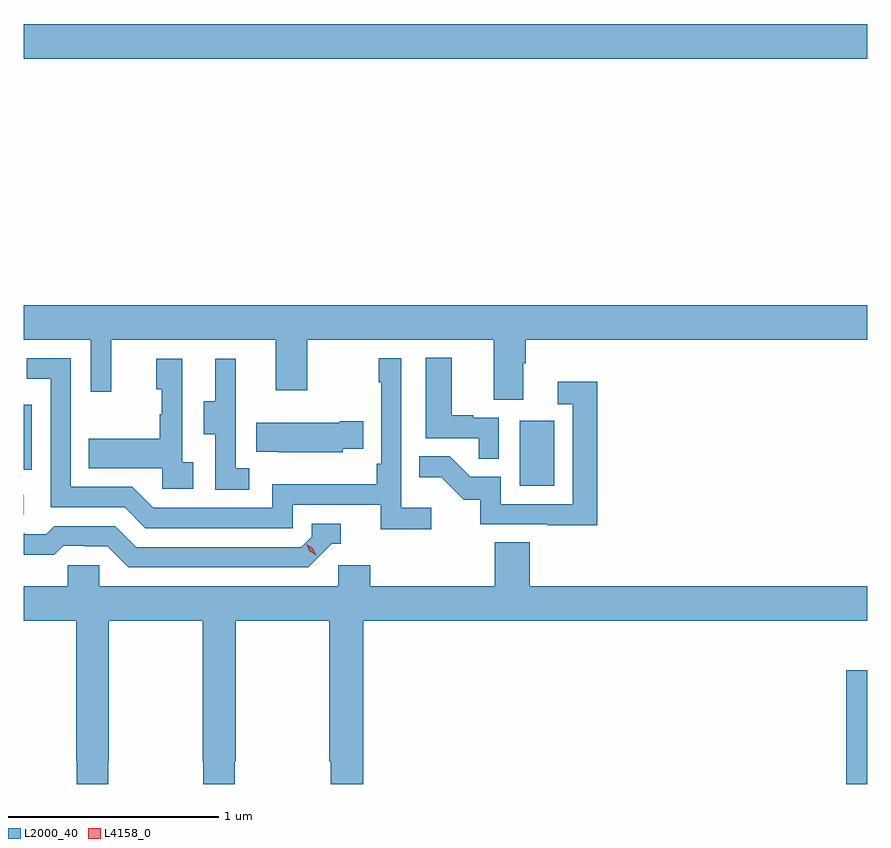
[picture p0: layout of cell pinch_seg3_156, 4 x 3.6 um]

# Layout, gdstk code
import gdstk
lib = gdstk.Library(unit=1e-6, precision=1e-09)
def R(c, l, rs):  # rectangles x0, y0, x1, y1
    for r in rs: c.add(gdstk.rectangle(r[:2], r[2:], *l))
def P(c, l, *ps):  # polygons
    for p in ps: c.add(gdstk.Polygon(p, *l))
L2000_40 = (2000, 40)
L4158_0 = (4158, 0)

pinch_seg3_156 = lib.new_cell('pinch_seg3_156')
R(pinch_seg3_156, L2000_40, [(1097.312,716.126,1097.413,716.665), (1093.413,717.402,1093.414,717.498), (1095.764,717.54,1095.928,717.847), (1093.413,717.615,1093.452,717.924), (1093.413,719.564,1097.413,719.728)])
P(pinch_seg3_156, L2000_40, [(1095.781,718.12),(1095.794,718.12),(1095.794,718.232),(1097.413,718.232),(1097.413,718.396),(1093.413,718.396),(1093.413,718.232),(1093.731,718.232),(1093.731,717.984),(1093.829,717.984),(1093.829,718.232),(1094.609,718.232),(1094.609,717.993),(1094.757,717.993),(1094.757,718.232),(1095.641,718.232),(1095.641,717.946),(1095.781,717.946)],
  [(1095.666,717.861),(1095.545,717.861),(1095.545,717.874),(1095.442,717.874),(1095.442,718.147),(1095.32,718.147),(1095.32,717.765),(1095.571,717.765),(1095.571,717.667),(1095.666,717.667)],
  [(1095.346,717.436),(1095.204,717.436),(1095.204,718.144),(1095.096,718.144),(1095.096,718.031),(1095.108,718.031),(1095.108,717.643),(1095.088,717.643),(1095.088,717.547),(1094.592,717.547),(1094.592,717.435),(1094.028,717.435),(1093.929,717.534),(1093.638,717.534),(1093.638,718.143),(1093.429,718.143),(1093.429,718.047),(1093.542,718.047),(1093.542,717.438),(1093.892,717.438),(1093.991,717.339),(1094.688,717.339),(1094.688,717.45),(1095.107,717.45),(1095.107,717.334),(1095.346,717.334)],
  [(1094.218,717.65),(1094.166,717.65),(1094.166,718.141),(1094.042,718.141),(1094.042,717.996),(1094.068,717.996),(1094.068,717.878),(1094.058,717.878),(1094.058,717.763),(1093.723,717.763),(1093.723,717.623),(1094.07,717.623),(1094.07,717.525),(1094.218,717.525)],
  [(1094.482,717.623),(1094.418,717.623),(1094.418,717.927),(1094.42,717.927),(1094.42,718.141),(1094.321,718.141),(1094.321,717.939),(1094.267,717.939),(1094.267,717.784),(1094.322,717.784),(1094.322,717.52),(1094.482,717.52)],
  [(1096.133,718.033),(1095.945,718.033),(1095.945,717.927),(1096.017,717.927),(1096.017,717.453),(1095.675,717.453),(1095.675,717.582),(1095.53,717.582),(1095.432,717.68),(1095.289,717.68),(1095.289,717.581),(1095.393,717.581),(1095.5,717.474),(1095.577,717.474),(1095.577,717.357),(1095.895,717.357),(1095.895,717.352),(1096.133,717.352)],
  [(1094.925,717.716),(1095.023,717.716),(1095.023,717.846),(1094.912,717.846),(1094.912,717.838),(1094.515,717.838),(1094.515,717.701),(1094.623,717.701),(1094.623,717.698),(1094.925,717.698)],
  [(1094.874,717.264),(1094.917,717.264),(1094.917,717.36),(1094.778,717.36),(1094.778,717.297),(1094.73,717.249),(1093.947,717.249),(1093.848,717.348),(1093.559,717.348),(1093.52,717.309),(1093.421,717.309),(1093.421,717.312),(1093.413,717.312),(1093.413,717.213),(1093.559,717.213),(1093.601,717.255),(1093.704,717.255),(1093.704,717.252),(1093.811,717.252),(1093.91,717.153),(1094.763,717.153)],
  [(1093.773,717.162),(1093.623,717.162),(1093.623,717.064),(1093.413,717.064),(1093.413,716.9),(1093.663,716.9),(1093.663,716.233),(1093.665,716.233),(1093.665,716.126),(1093.815,716.126),(1093.815,716.233),(1093.818,716.233),(1093.818,716.9),(1094.263,716.9),(1094.263,716.233),(1094.265,716.233),(1094.265,716.126),(1094.415,716.126),(1094.415,716.233),(1094.418,716.233),(1094.418,716.9),(1094.863,716.9),(1094.863,716.233),(1094.869,716.233),(1094.869,716.126),(1095.023,716.126),(1095.023,716.9),(1097.413,716.9),(1097.413,717.064),(1095.812,717.064),(1095.812,717.272),(1095.647,717.272),(1095.647,717.064),(1095.056,717.064),(1095.056,717.162),(1094.904,717.162),(1094.904,717.064),(1093.773,717.064)])
P(pinch_seg3_156, L4158_0, [(1094.801,717.211),(1094.77,717.23),(1094.754,717.262),(1094.754,717.263),(1094.754,717.263),(1094.785,717.243),(1094.801,717.211),(1094.801,717.211)])

lib.write_gds('pinch_seg3_156.gds')
